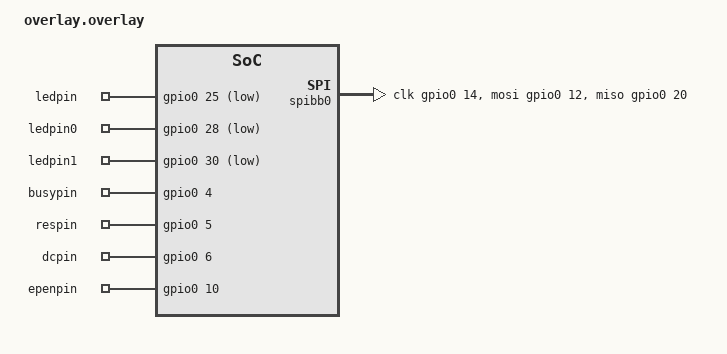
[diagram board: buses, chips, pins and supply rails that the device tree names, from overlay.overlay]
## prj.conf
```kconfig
CONFIG_PRINTK=y

# CONFIG_CONSOLE=y
CONFIG_UART_CONSOLE=n
CONFIG_RTT_CONSOLE=y

# Enable RTT
CONFIG_USE_SEGGER_RTT=y

# CONFIG_LOG=y
# CONFIG_LOG_BACKEND_RTT=y
# CONFIG_LOG_BACKEND_UART=n
# CONFIG_LOG_PRINTK=y
```

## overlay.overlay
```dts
/ {

    display {
        compatible = "gpio-keys";
   
       ledpin: led_pin_0 {
           gpios = <&gpio0 25 GPIO_ACTIVE_LOW>;
           label = "ledpin";
       };
   
       ledpin0: led_pin_1 {
          gpios = <&gpio0 28 GPIO_ACTIVE_LOW>;
          label = "ledpin0";
      };
   
      ledpin1: led_pin_2 {
          gpios = <&gpio0 30 GPIO_ACTIVE_LOW>;
          label = "ledpin1";
      };
   
       busypin: gpiocus_3 {
           gpios = <&gpio0 4 (GPIO_PULL_UP | GPIO_ACTIVE_HIGH)>;
           label = "busypin";
       };
   
       respin: gpiocus_4 {
           gpios = <&gpio0 5 GPIO_ACTIVE_HIGH>;
           label = "respin";
       };
   
       dcpin: gpiocus_5 {
           gpios = <&gpio0 6 GPIO_ACTIVE_HIGH>;
           label = "dcpin";
       };
   
       epenpin: gpiocus_9 {
           gpios = <&gpio0 10 GPIO_ACTIVE_HIGH>;
           label = "epenpin";
       };
    };

    spibb0: spibb0 {
		compatible = "zephyr,spi-bitbang";
		status="okay";
		#address-cells = <1>;
		#size-cells = <0>;
		clk-gpios = <&gpio0 14 GPIO_ACTIVE_HIGH>;
		mosi-gpios = <&gpio0 12 GPIO_ACTIVE_HIGH>;
		miso-gpios = <&gpio0 20 0>;
		cs-gpios = <&gpio0 9 GPIO_ACTIVE_LOW>;
	};
    
};
```

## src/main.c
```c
#include <zephyr/kernel.h>
#include <zephyr/sys/printk.h>
// #include <zephyr/logging/log.h>

// LOG_MODULE_REGISTER(main);

void main(void)
{
	while (1){
		printk("Test printk\n");
		//LOG_INF("Info message example.");
		k_sleep(K_SECONDS(1));
	}
}
```
